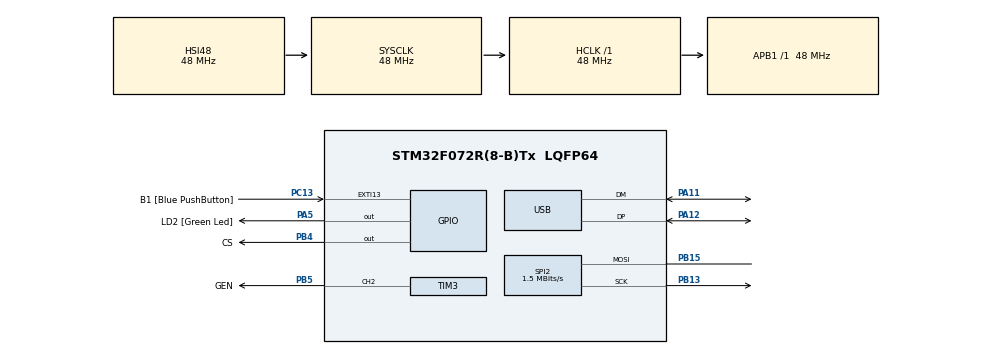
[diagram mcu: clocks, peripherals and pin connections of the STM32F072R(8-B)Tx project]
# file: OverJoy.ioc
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Dma.Request0=SPI2_TX
Dma.Request1=SPI2_RX
Dma.SPI2_RX.1.Direction=DMA_PERIPH_TO_MEMORY
Dma.SPI2_RX.1.Instance=DMA1_Channel4
Dma.SPI2_RX.1.MemDataAlignment=DMA_MDATAALIGN_BYTE
Dma.SPI2_RX.1.MemInc=DMA_MINC_ENABLE
Dma.SPI2_RX.1.Mode=DMA_NORMAL
Dma.SPI2_RX.1.PeriphDataAlignment=DMA_PDATAALIGN_BYTE
Dma.SPI2_RX.1.PeriphInc=DMA_PINC_DISABLE
Dma.SPI2_RX.1.Priority=DMA_PRIORITY_LOW
Dma.SPI2_TX.0.Direction=DMA_MEMORY_TO_PERIPH
Dma.SPI2_TX.0.Instance=DMA1_Channel5
Dma.SPI2_TX.0.MemDataAlignment=DMA_MDATAALIGN_BYTE
Dma.SPI2_TX.0.MemInc=DMA_MINC_ENABLE
Dma.SPI2_TX.0.Mode=DMA_NORMAL
Dma.SPI2_TX.0.PeriphDataAlignment=DMA_PDATAALIGN_BYTE
Dma.SPI2_TX.0.PeriphInc=DMA_PINC_DISABLE
Dma.SPI2_TX.0.Priority=DMA_PRIORITY_LOW
Mcu.Family=STM32F0
Mcu.Name=STM32F072R(8-B)Tx
Mcu.Package=LQFP64
NVIC.DMA1_Channel4_5_6_7_IRQn=true\:0\:0\:false\:false\:true\:false\:true
NVIC.EXTI4_15_IRQn=true\:2\:0\:true\:false\:true\:true\:true
NVIC.RCC_CRS_IRQn=true\:0\:0\:false\:false\:true\:true\:false
NVIC.TIM6_DAC_IRQn=true\:0\:0\:false\:false\:true\:false\:true
NVIC.TimeBase=TIM6_DAC_IRQn
NVIC.TimeBaseIP=TIM6
NVIC.USB_IRQn=true\:0\:0\:false\:false\:true\:true\:true
PA11.Mode=Device
PA11.Signal=USB_DM
PA12.Mode=Device
PA12.Signal=USB_DP
PA13.GPIO_Label=TMS
PA13.Mode=Serial_Wire
PA13.Signal=SYS_SWDIO
PA14.GPIO_Label=TCK
PA14.Mode=Serial_Wire
PA14.Signal=SYS_SWCLK
PA5.GPIO_Label=LD2 [Green Led]
PA5.GPIO_Mode=GPIO_MODE_OUTPUT_PP
PA5.GPIO_PuPd=GPIO_NOPULL
PA5.GPIO_Speed=GPIO_SPEED_FREQ_LOW
PA5.Signal=GPIO_Output
PB13.GPIO_PuPd=GPIO_PULLDOWN
PB13.Mode=Simplex_Bidirectional_Master
PB13.Signal=SPI2_SCK
PB15.GPIO_PuPd=GPIO_PULLUP
PB15.Mode=Simplex_Bidirectional_Master
PB15.Signal=SPI2_MOSI
PB4.GPIO_Label=CS
PB4.GPIO_PuPd=GPIO_PULLUP
PB4.GPIO_Speed=GPIO_SPEED_FREQ_HIGH
PB4.PinState=GPIO_PIN_RESET
PB4.Signal=GPIO_Output
PB5.GPIO_Label=GEN
PB5.GPIO_PuPd=GPIO_PULLDOWN
PB5.GPIO_Speed=GPIO_SPEED_FREQ_HIGH
PB5.Signal=S_TIM3_CH2
PC13.GPIO_Label=B1 [Blue PushButton]
PC13.GPIO_ModeDefaultEXTI=GPIO_MODE_IT_RISING_FALLING
PC13.Signal=GPXTI13
ProjectManager.HeapSize=0x200
ProjectManager.StackSize=0x400
ProjectManager.TargetToolchain=TrueSTUDIO
RCC.AHBFreq_Value=48000000
RCC.APB1Freq_Value=48000000
RCC.APB1TimFreq_Value=48000000
RCC.FLatency-AdvancedSettings=FLASH_LATENCY_1
RCC.HCLKFreq_Value=48000000
RCC.PLLDivider=RCC_PREDIV_DIV2
RCC.PLLMUL=RCC_PLL_MUL12
RCC.PLLSourceVirtual=RCC_PLLSOURCE_HSI48
RCC.PREFETCH_ENABLE-AdvancedSettings=1
RCC.SYSCLKFreq_VALUE=48000000
RCC.SYSCLKSource=RCC_SYSCLKSOURCE_HSI48
SH.S_TIM3_CH2.0=TIM3_CH2,PWM Generation2 CH2
SPI2.BaudRatePrescaler=SPI_BAUDRATEPRESCALER_32
SPI2.CLKPhase=SPI_PHASE_1EDGE
SPI2.CLKPolarity=SPI_POLARITY_LOW
SPI2.CRCCalculation=SPI_CRCCALCULATION_DISABLE
SPI2.CalculateBaudRate=1.5 MBits/s
SPI2.DataSize=SPI_DATASIZE_8BIT
SPI2.Direction=SPI_DIRECTION_1LINE
SPI2.Mode=SPI_MODE_MASTER
SPI2.VirtualType=VM_MASTER
TIM3.Channel-PWM\ Generation2\ CH2=TIM_CHANNEL_2
TIM3.Period=3
TIM3.Prescaler=2
USB_DEVICE.CLASS_NAME_FS=CUSTOM_HID
USB_DEVICE.CONFIGURATION_STRING_CUSTOMHID_FS=OverJoystick Config
USB_DEVICE.INTERFACE_STRING_CUSTOMHID_FS=OverJoystick Interface
USB_DEVICE.MANUFACTURER_STRING=DIIV Line Team
USB_DEVICE.PRODUCT_STRING_CUSTOMHID_FS=OverJoystick TLE TEST
USB_DEVICE.USBD_CUSTOMHID_OUTREPORT_BUF_SIZE=64
USB_DEVICE.USBD_CUSTOM_HID_REPORT_DESC_SIZE=29
USB_DEVICE.USBD_SELF_POWERED=0
USB_DEVICE.VirtualMode=CustomHid
USB_DEVICE.VirtualModeFS=Custom_Hid_FS
VP_SYS_VS_tim6.Mode=TIM6
VP_USB_DEVICE_VS_USB_DEVICE_CUSTOM_HID_FS.Mode=CUSTOM_HID_FS
board=NUCLEO-F072RB

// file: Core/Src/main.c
/* USER CODE BEGIN Header */
/**
  ******************************************************************************
  * @file           : main.c
  * @brief          : Main program body
  ******************************************************************************
  * This notice applies to any and all portions of this file
  * that are not between comment pairs USER CODE BEGIN and
  * USER CODE END. Other portions of this file, whether
  * inserted by the user or by software development tools
  * are owned by their respective copyright owners.
  *
  * Copyright (c) 2019 STMicroelectronics International N.V.
  * All rights reserved.
  *
  * Redistribution and use in source and binary forms, with or without
  * modification, are permitted, provided that the following conditions are met:
  *
  * 1. Redistribution of source code must retain the above copyright notice,
  *    this list of conditions and the following disclaimer.
  * 2. Redistributions in binary form must reproduce the above copyright notice,
  *    this list of conditions and the following disclaimer in the documentation
  *    and/or other materials provided with the distribution.
  * 3. Neither the name of STMicroelectronics nor the names of other
  *    contributors to this software may be used to endorse or promote products
  *    derived from this software without specific written permission.
  * 4. This software, including modifications and/or derivative works of this
  *    software, must execute solely and exclusively on microcontroller or
  *    microprocessor devices manufactured by or for STMicroelectronics.
  * 5. Redistribution and use of this software other than as permitted under
  *    this license is void and will automatically terminate your rights under
  *    this license.
  *
  * THIS SOFTWARE IS PROVIDED BY STMICROELECTRONICS AND CONTRIBUTORS "AS IS"
  * AND ANY EXPRESS, IMPLIED OR STATUTORY WARRANTIES, INCLUDING, BUT NOT
  * LIMITED TO, THE IMPLIED WARRANTIES OF MERCHANTABILITY, FITNESS FOR A
  * PARTICULAR PURPOSE AND NON-INFRINGEMENT OF THIRD PARTY INTELLECTUAL PROPERTY
  * RIGHTS ARE DISCLAIMED TO THE FULLEST EXTENT PERMITTED BY LAW. IN NO EVENT
  * SHALL STMICROELECTRONICS OR CONTRIBUTORS BE LIABLE FOR ANY DIRECT, INDIRECT,
  * INCIDENTAL, SPECIAL, EXEMPLARY, OR CONSEQUENTIAL DAMAGES (INCLUDING, BUT NOT
  * LIMITED TO, PROCUREMENT OF SUBSTITUTE GOODS OR SERVICES; LOSS OF USE, DATA,
  * OR PROFITS; OR BUSINESS INTERRUPTION) HOWEVER CAUSED AND ON ANY THEORY OF
  * LIABILITY, WHETHER IN CONTRACT, STRICT LIABILITY, OR TORT (INCLUDING
  * NEGLIGENCE OR OTHERWISE) ARISING IN ANY WAY OUT OF THE USE OF THIS SOFTWARE,
  * EVEN IF ADVISED OF THE POSSIBILITY OF SUCH DAMAGE.
  *
  ******************************************************************************
  */
/* USER CODE END Header */

#include "main.h"
#include "usb_device.h"

/* USER CODE BEGIN Includes */
#include "usbd_customhid.h"
#include "OJ_Main.h"
/* USER CODE END Includes */

SPI_HandleTypeDef hspi2;
DMA_HandleTypeDef hdma_spi2_tx;
DMA_HandleTypeDef hdma_spi2_rx;

TIM_HandleTypeDef htim3;

/* USER CODE BEGIN PV */
USB_JoystickReport_Data_t joyStates;
extern sysDataTLETypeDef sysDataTLE;
extern mainDataTypeDef mainData;
int16_t tleValues[2];
int16_t tleTemp;
uint8_t colibState;

uint8_t tempUSBBuf[64];

volatile uint8_t mainDataSize;

uint8_t usbOn = 0;

float resultAngle;

//uint8_t tempUSBBuf[8];
uint8_t *pointer = (uint8_t*)&joyStates;

HAL_StatusTypeDef ret;
extern USBD_HandleTypeDef hUsbDeviceFS;

//EXTI_HandleTypeDef hexti13;
/* USER CODE END PV */

void SystemClock_Config(void);
static void MX_GPIO_Init(void);
static void MX_DMA_Init(void);
static void MX_TIM3_Init(void);
static void MX_SPI2_Init(void);

int main(void)
{

  /* MCU Configuration--------------------------------------------------------*/

  /* Reset of all peripherals, Initializes the Flash interface and the Systick. */
  HAL_Init();

  /* Configure the system clock */
  SystemClock_Config();

  /* Initialize all configured peripherals */
  MX_GPIO_Init();
  MX_DMA_Init();
  MX_TIM3_Init();
  MX_SPI2_Init();
  MX_USB_DEVICE_Init();
  /* USER CODE BEGIN 2 */

	TIM3->CCR2 = 2;
	HAL_TIM_PWM_Start(&htim3, TIM_CHANNEL_2);
	HAL_Delay(100);

	  GetTempValues();
	  GetTempValues();

  /* USER CODE END 2 */

  /* Infinite loop */
  /* USER CODE BEGIN WHILE */
  while (1)
  {
	  if(colibState == 0){
		  GetResultAngle();
	  }
	  else{
		  GetTempValues();
		  GetTempValues();
		  colibState = 0;
	  }

	  if(usbOn == 1){
			memcpy(tempUSBBuf+1, &mainData, 63);
			tempUSBBuf[0] = 0x91;
			USBD_CUSTOM_HID_SendReport(&hUsbDeviceFS, (uint8_t*)&tempUSBBuf, sizeof(tempUSBBuf));
			for(uint8_t i=sizeof(tempUSBBuf); i<sizeof(tempUSBBuf); i++)
			{
				tempUSBBuf[i] = 0xFF;
			}
			USBD_CUSTOM_HID_SendReport(&hUsbDeviceFS, (uint8_t*)&tempUSBBuf, sizeof(tempUSBBuf));
	  }

    /* USER CODE END WHILE */

    /* USER CODE BEGIN 3 */
//		memcpy(tempUSBBuf, pointer, sizeof(USB_JoystickReport_Data_t));
//		USBD_CUSTOM_HID_SendReport(&hUsbDeviceFS, (uint8_t*)&tempUSBBuf, sizeof(tempUSBBuf));
  }
  /* USER CODE END 3 */
}

void SystemClock_Config(void)
{
  RCC_OscInitTypeDef RCC_OscInitStruct = {0};
  RCC_ClkInitTypeDef RCC_ClkInitStruct = {0};
  RCC_PeriphCLKInitTypeDef PeriphClkInit = {0};

  /** Initializes the CPU, AHB and APB busses clocks
  */
  RCC_OscInitStruct.OscillatorType = RCC_OSCILLATORTYPE_HSI48;
  RCC_OscInitStruct.HSI48State = RCC_HSI48_ON;
  RCC_OscInitStruct.PLL.PLLState = RCC_PLL_NONE;
  if (HAL_RCC_OscConfig(&RCC_OscInitStruct) != HAL_OK)
  {
    Error_Handler();
  }
  /** Initializes the CPU, AHB and APB busses clocks
  */
  RCC_ClkInitStruct.ClockType = RCC_CLOCKTYPE_HCLK|RCC_CLOCKTYPE_SYSCLK
                              |RCC_CLOCKTYPE_PCLK1;
  RCC_ClkInitStruct.SYSCLKSource = RCC_SYSCLKSOURCE_HSI48;
  RCC_ClkInitStruct.AHBCLKDivider = RCC_SYSCLK_DIV1;
  RCC_ClkInitStruct.APB1CLKDivider = RCC_HCLK_DIV1;

  if (HAL_RCC_ClockConfig(&RCC_ClkInitStruct, FLASH_LATENCY_1) != HAL_OK)
  {
    Error_Handler();
  }
  PeriphClkInit.PeriphClockSelection = RCC_PERIPHCLK_USB;
  PeriphClkInit.UsbClockSelection = RCC_USBCLKSOURCE_HSI48;

  if (HAL_RCCEx_PeriphCLKConfig(&PeriphClkInit) != HAL_OK)
  {
    Error_Handler();
  }
}

static void MX_SPI2_Init(void)
{

  /* SPI2 parameter configuration*/
  hspi2.Instance = SPI2;
  hspi2.Init.Mode = SPI_MODE_MASTER;
  hspi2.Init.Direction = SPI_DIRECTION_1LINE;
  hspi2.Init.DataSize = SPI_DATASIZE_8BIT;
  hspi2.Init.CLKPolarity = SPI_POLARITY_LOW;
  hspi2.Init.CLKPhase = SPI_PHASE_1EDGE;
  hspi2.Init.NSS = SPI_NSS_SOFT;
  hspi2.Init.BaudRatePrescaler = SPI_BAUDRATEPRESCALER_32;
  hspi2.Init.FirstBit = SPI_FIRSTBIT_MSB;
  hspi2.Init.TIMode = SPI_TIMODE_DISABLE;
  hspi2.Init.CRCCalculation = SPI_CRCCALCULATION_DISABLE;
  hspi2.Init.CRCPolynomial = 7;
  hspi2.Init.CRCLength = SPI_CRC_LENGTH_DATASIZE;
  hspi2.Init.NSSPMode = SPI_NSS_PULSE_ENABLE;
  if (HAL_SPI_Init(&hspi2) != HAL_OK)
  {
    Error_Handler();
  }

}

static void MX_TIM3_Init(void)
{

  TIM_MasterConfigTypeDef sMasterConfig = {0};
  TIM_OC_InitTypeDef sConfigOC = {0};

  htim3.Instance = TIM3;
  htim3.Init.Prescaler = 2;
  htim3.Init.CounterMode = TIM_COUNTERMODE_UP;
  htim3.Init.Period = 3;
  htim3.Init.ClockDivision = TIM_CLOCKDIVISION_DIV1;
  htim3.Init.AutoReloadPreload = TIM_AUTORELOAD_PRELOAD_DISABLE;
  if (HAL_TIM_PWM_Init(&htim3) != HAL_OK)
  {
    Error_Handler();
  }
  sMasterConfig.MasterOutputTrigger = TIM_TRGO_RESET;
  sMasterConfig.MasterSlaveMode = TIM_MASTERSLAVEMODE_DISABLE;
  if (HAL_TIMEx_MasterConfigSynchronization(&htim3, &sMasterConfig) != HAL_OK)
  {
    Error_Handler();
  }
  sConfigOC.OCMode = TIM_OCMODE_PWM1;
  sConfigOC.Pulse = 0;
  sConfigOC.OCPolarity = TIM_OCPOLARITY_HIGH;
  sConfigOC.OCFastMode = TIM_OCFAST_DISABLE;
  if (HAL_TIM_PWM_ConfigChannel(&htim3, &sConfigOC, TIM_CHANNEL_2) != HAL_OK)
  {
    Error_Handler();
  }
  HAL_TIM_MspPostInit(&htim3);

}

static void MX_DMA_Init(void)
{
  /* DMA controller clock enable */
  __HAL_RCC_DMA1_CLK_ENABLE();

  /* DMA interrupt init */
  /* DMA1_Channel4_5_6_7_IRQn interrupt configuration */
  HAL_NVIC_SetPriority(DMA1_Channel4_5_6_7_IRQn, 0, 0);
  HAL_NVIC_EnableIRQ(DMA1_Channel4_5_6_7_IRQn);

}

static void MX_GPIO_Init(void)
{
  GPIO_InitTypeDef GPIO_InitStruct = {0};

  /* GPIO Ports Clock Enable */
  __HAL_RCC_GPIOC_CLK_ENABLE();
  __HAL_RCC_GPIOA_CLK_ENABLE();
  __HAL_RCC_GPIOB_CLK_ENABLE();

  /*Configure GPIO pin Output Level */
  HAL_GPIO_WritePin(LD2_GPIO_Port, LD2_Pin, GPIO_PIN_RESET);

  /*Configure GPIO pin Output Level */
  HAL_GPIO_WritePin(CS_GPIO_Port, CS_Pin, GPIO_PIN_RESET);

  /*Configure GPIO pin : B1_Pin */
  GPIO_InitStruct.Pin = B1_Pin;
  GPIO_InitStruct.Mode = GPIO_MODE_IT_RISING_FALLING;
  GPIO_InitStruct.Pull = GPIO_NOPULL;
  HAL_GPIO_Init(B1_GPIO_Port, &GPIO_InitStruct);

  /*Configure GPIO pin : LD2_Pin */
  GPIO_InitStruct.Pin = LD2_Pin;
  GPIO_InitStruct.Mode = GPIO_MODE_OUTPUT_PP;
  GPIO_InitStruct.Pull = GPIO_NOPULL;
  GPIO_InitStruct.Speed = GPIO_SPEED_FREQ_LOW;
  HAL_GPIO_Init(LD2_GPIO_Port, &GPIO_InitStruct);

  /*Configure GPIO pin : CS_Pin */
  GPIO_InitStruct.Pin = CS_Pin;
  GPIO_InitStruct.Mode = GPIO_MODE_OUTPUT_PP;
  GPIO_InitStruct.Pull = GPIO_PULLUP;
  GPIO_InitStruct.Speed = GPIO_SPEED_FREQ_HIGH;
  HAL_GPIO_Init(CS_GPIO_Port, &GPIO_InitStruct);

  /* EXTI interrupt init*/
  HAL_NVIC_SetPriority(EXTI4_15_IRQn, 2, 0);
  HAL_NVIC_EnableIRQ(EXTI4_15_IRQn);

}

/* USER CODE BEGIN 4 */

void buttonISR(void)
{
	if(HAL_GPIO_ReadPin(B1_GPIO_Port, B1_Pin) == GPIO_PIN_SET){
		joyStates.a7 = 1;
	}
	else if(HAL_GPIO_ReadPin(B1_GPIO_Port, B1_Pin) == GPIO_PIN_RESET){
		joyStates.a7 = 0;
	}
}

/* USER CODE END 4 */

void HAL_TIM_PeriodElapsedCallback(TIM_HandleTypeDef *htim)
{
  if (htim->Instance == TIM6) {
    HAL_IncTick();
  }
}

void Error_Handler(void)
{
}

/************************ (C) COPYRIGHT STMicroelectronics *****END OF FILE****/
